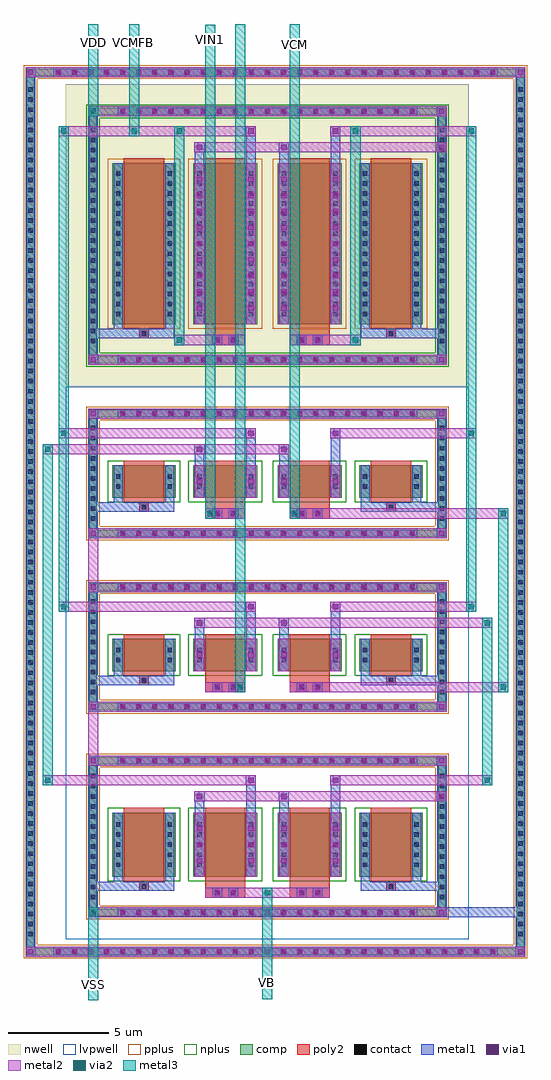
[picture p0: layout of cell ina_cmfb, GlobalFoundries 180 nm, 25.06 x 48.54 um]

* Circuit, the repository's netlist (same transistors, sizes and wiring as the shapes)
* Extracted by KLayout with GF180MCU LVS runset on : 27/08/2026 22:54

.SUBCKT ina_cmfb VB VIN2 VCMFB VIN1 VCM VDD VSS
M$1 VDD VDD VDD VDD pfet_03v3 L=2U W=16U AS=9.28P AD=9.28P PS=34.32U PD=34.32U
M$2 \$11 \$11 VDD VDD pfet_03v3 L=2U W=8U AS=4.8P AD=4.8P PS=17.2U PD=17.2U
M$3 VCMFB VCMFB VDD VDD pfet_03v3 L=2U W=8U AS=4.8P AD=4.8P PS=17.2U PD=17.2U
M$5 VCMFB VIN1 \$3 VSS nfet_03v3 L=2U W=1.6U AS=0.96P AD=0.96P PS=4.4U PD=4.4U
M$6 VSS VSS VSS VSS nfet_03v3 L=2U W=12.8U AS=7.424P AD=7.424P PS=32.56U
+ PD=32.56U
M$9 \$11 VCM \$3 VSS nfet_03v3 L=2U W=1.6U AS=0.96P AD=0.96P PS=4.4U PD=4.4U
M$10 \$11 VCM \$6 VSS nfet_03v3 L=2U W=1.6U AS=0.96P AD=0.96P PS=4.4U PD=4.4U
M$13 VCMFB VIN2 \$6 VSS nfet_03v3 L=2U W=1.6U AS=0.96P AD=0.96P PS=4.4U PD=4.4U
M$14 \$3 VB VSS VSS nfet_03v3 L=2U W=3.2U AS=1.92P AD=1.92P PS=7.6U PD=7.6U
M$15 \$6 VB VSS VSS nfet_03v3 L=2U W=3.2U AS=1.92P AD=1.92P PS=7.6U PD=7.6U
.ENDS ina_cmfb

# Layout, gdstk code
import gdstk
lib = gdstk.Library(unit=1e-6, precision=5e-09)
def R(c, l, rs):  # rectangles x0, y0, x1, y1
    for r in rs: c.add(gdstk.rectangle(r[:2], r[2:], *l))
def A(c, l, x, y, w, h, nx, ny, dx, dy):  # array of equal rectangles
    R(c, l, [(x+i*dx, y+j*dy, x+i*dx+w, y+j*dy+h) for i in range(nx) for j in range(ny)])
def P(c, l, *ps):  # polygons
    for p in ps: c.add(gdstk.Polygon(p, *l))
nwell = (21, 0)
comp = (22, 0)
poly2 = (30, 0)
pplus = (31, 0)
nplus = (32, 0)
contact = (33, 0)
metal1 = (34, 0)
via1 = (35, 0)
metal2 = (36, 0)
via2 = (38, 0)
metal3 = (42, 0)
lvpwell = (204, 0)

ina_cmfb = lib.new_cell('ina_cmfb')
R(ina_cmfb, nwell, [(-5.91,-7.515,14.13,7.515), (-4.87,-6.475,13.09,6.475), (-3.96,-5.565,3.96,5.565), (4.26,-5.565,12.18,5.565)])
A(ina_cmfb, comp, -6.47, -35.795, 0.36, 0.36, 28, 2, 0.8, 43.74)
A(ina_cmfb, comp, -7.86, -34.925, 0.36, 0.36, 1, 85, 0, 0.5)
A(ina_cmfb, comp, 16.52, -34.925, 0.36, 0.36, 1, 85, 0, 0.5)
A(ina_cmfb, comp, -3.27, -33.845, 0.36, 0.36, 19, 2, 0.8, 7.55)
A(ina_cmfb, comp, -4.75, -33.07, 0.36, 0.36, 1, 13, 0, 0.5)
A(ina_cmfb, comp, 12.61, -33.07, 0.36, 0.36, 1, 13, 0, 0.5)
A(ina_cmfb, comp, -3.27, -23.615, 0.36, 0.36, 19, 2, 0.8, 5.95)
A(ina_cmfb, comp, -4.75, -22.89, 0.36, 0.36, 1, 10, 0, 0.5)
A(ina_cmfb, comp, 12.61, -22.89, 0.36, 0.36, 1, 10, 0, 0.5)
A(ina_cmfb, comp, -3.27, -14.985, 0.36, 0.36, 19, 2, 0.8, 5.95)
A(ina_cmfb, comp, -4.75, -14.26, 0.36, 0.36, 1, 10, 0, 0.5)
A(ina_cmfb, comp, 12.61, -14.26, 0.36, 0.36, 1, 10, 0, 0.5)
A(ina_cmfb, comp, -3.27, -6.355, 0.36, 0.36, 19, 2, 0.8, 12.35)
A(ina_cmfb, comp, -4.75, -5.43, 0.36, 0.36, 1, 22, 0, 0.5)
A(ina_cmfb, comp, 12.61, -5.43, 0.36, 0.36, 1, 22, 0, 0.5)
R(ina_cmfb, comp, [(-6.47,-35.795,15.49,-35.435), (-7.86,-34.925,-7.5,7.435), (16.52,-34.925,16.88,7.435), (-3.27,-33.845,11.49,-33.485), (-4.75,-33.07,-4.39,-26.71), (12.61,-33.07,12.97,-26.71), (-3.61,-31.895,-0.45,-28.695), (0.41,-31.895,3.61,-28.695), (4.61,-31.895,7.81,-28.695), (8.67,-31.895,11.83,-28.695), (-3.27,-26.295,11.49,-25.935), (-3.27,-23.615,11.49,-23.255), (-4.75,-22.89,-4.39,-18.03), (12.61,-22.89,12.97,-18.03), (-3.61,-21.665,-0.45,-20.065), (0.41,-21.665,3.61,-20.065), (4.61,-21.665,7.81,-20.065), (8.67,-21.665,11.83,-20.065), (-3.27,-17.665,11.49,-17.305), (-3.27,-14.985,11.49,-14.625), (-4.75,-14.26,-4.39,-9.4), (12.61,-14.26,12.97,-9.4), (-3.61,-13.035,-0.45,-11.435), (0.41,-13.035,3.61,-11.435), (4.61,-13.035,7.81,-11.435), (8.67,-13.035,11.83,-11.435), (-3.27,-9.035,11.49,-8.675), (-3.27,-6.355,11.49,-5.995), (-4.75,-5.43,-4.39,5.43), (12.61,-5.43,12.97,5.43), (-3.61,-4.405,-0.45,3.595), (0.41,-4.405,3.61,3.595), (4.61,-4.405,7.81,3.595), (8.67,-4.405,11.83,3.595), (-3.27,5.995,11.49,6.355), (-6.47,7.945,15.49,8.305)])
P(ina_cmfb, comp, [(-4.75,-6.355),(-4.75,-5.995),(-4.39,-5.995),(12.61,-5.995),(12.61,5.995),(-4.39,5.995),(-4.39,-5.995),(-4.75,-5.995),(-4.75,6.355),(12.97,6.355),(12.97,-6.355)],
  [(-7.86,-35.795),(-7.86,-35.435),(-7.5,-35.435),(16.52,-35.435),(16.52,7.945),(-7.5,7.945),(-7.5,-35.435),(-7.86,-35.435),(-7.86,8.305),(16.88,8.305),(16.88,-35.795)],
  [(-4.75,-33.845),(-4.75,-33.485),(-4.39,-33.485),(12.61,-33.485),(12.61,-26.295),(-4.39,-26.295),(-4.39,-33.485),(-4.75,-33.485),(-4.75,-25.935),(12.97,-25.935),(12.97,-33.845)],
  [(-4.75,-23.615),(-4.75,-23.255),(-4.39,-23.255),(12.61,-23.255),(12.61,-17.665),(-4.39,-17.665),(-4.39,-23.255),(-4.75,-23.255),(-4.75,-17.305),(12.97,-17.305),(12.97,-23.615)],
  [(-4.75,-14.985),(-4.75,-14.625),(-4.39,-14.625),(12.61,-14.625),(12.61,-9.035),(-4.39,-9.035),(-4.39,-14.625),(-4.75,-14.625),(-4.75,-8.675),(12.97,-8.675),(12.97,-14.985)])
A(ina_cmfb, poly2, 1.01, -22.705, 2, 0.5, 1, 3, 0, 8.63)
A(ina_cmfb, poly2, 5.21, -22.705, 2, 0.5, 1, 3, 0, 8.63)
A(ina_cmfb, poly2, 1.43, -22.635, 0.36, 0.36, 1, 3, 0, 8.63)
A(ina_cmfb, poly2, 2.23, -22.635, 0.36, 0.36, 1, 3, 0, 8.63)
A(ina_cmfb, poly2, 5.63, -22.635, 0.36, 0.36, 1, 3, 0, 8.63)
A(ina_cmfb, poly2, 6.43, -22.635, 0.36, 0.36, 1, 3, 0, 8.63)
A(ina_cmfb, poly2, -2.26, -22.365, 0.46, 0.46, 1, 3, 0, 8.63)
A(ina_cmfb, poly2, 10.02, -22.365, 0.46, 0.46, 1, 3, 0, 8.63)
A(ina_cmfb, poly2, -2.21, -22.315, 0.36, 0.36, 1, 3, 0, 8.63)
A(ina_cmfb, poly2, 10.07, -22.315, 0.36, 0.36, 1, 3, 0, 8.63)
A(ina_cmfb, poly2, 1.01, -22.205, 2, 0.3, 1, 3, 0, 8.63)
A(ina_cmfb, poly2, 5.21, -22.205, 2, 0.3, 1, 3, 0, 8.63)
R(ina_cmfb, poly2, [(1.01,-32.935,3.01,-32.435), (5.21,-32.935,7.21,-32.435), (1.43,-32.865,1.79,-32.505), (2.23,-32.865,2.59,-32.505), (5.63,-32.865,5.99,-32.505), (6.43,-32.865,6.79,-32.505), (-2.26,-32.595,-1.8,-32.135), (10.02,-32.595,10.48,-32.135), (-2.21,-32.545,-1.85,-32.185), (10.07,-32.545,10.43,-32.185), (1.01,-32.435,3.01,-32.135), (5.21,-32.435,7.21,-32.135), (-3.03,-32.135,-1.03,-28.455), (1.01,-32.135,3.01,-28.455), (5.21,-32.135,7.21,-28.455), (9.25,-32.135,11.25,-28.455), (-3.03,-21.905,-1.03,-19.825), (1.01,-21.905,3.01,-19.825), (5.21,-21.905,7.21,-19.825), (9.25,-21.905,11.25,-19.825), (-3.03,-13.275,-1.03,-11.195), (1.01,-13.275,3.01,-11.195), (5.21,-13.275,7.21,-11.195), (9.25,-13.275,11.25,-11.195), (-3.03,-4.645,-1.03,3.835), (1.01,-4.645,3.01,3.835), (5.21,-4.645,7.21,3.835), (9.25,-4.645,11.25,3.835)])
R(ina_cmfb, pplus, [(-3.84,-4.635,-0.22,3.825), (0.18,-4.635,3.84,3.825), (4.38,-4.635,8.04,3.825), (8.44,-4.635,12.06,3.825)])
P(ina_cmfb, pplus, [(-8.02,-35.955),(-8.02,-35.275),(-7.34,-35.275),(16.36,-35.275),(16.36,7.785),(-7.34,7.785),(-7.34,-35.275),(-8.02,-35.275),(-8.02,8.465),(17.04,8.465),(17.04,-35.955)],
  [(-4.91,-34.005),(-4.91,-33.325),(-4.23,-33.325),(12.45,-33.325),(12.45,-26.455),(-4.23,-26.455),(-4.23,-33.325),(-4.91,-33.325),(-4.91,-25.775),(13.13,-25.775),(13.13,-34.005)],
  [(-4.91,-23.775),(-4.91,-23.095),(-4.23,-23.095),(12.45,-23.095),(12.45,-17.825),(-4.23,-17.825),(-4.23,-23.095),(-4.91,-23.095),(-4.91,-17.145),(13.13,-17.145),(13.13,-23.775)],
  [(-4.91,-15.145),(-4.91,-14.465),(-4.23,-14.465),(12.45,-14.465),(12.45,-9.195),(-4.23,-9.195),(-4.23,-14.465),(-4.91,-14.465),(-4.91,-8.515),(13.13,-8.515),(13.13,-15.145)])
R(ina_cmfb, nplus, [(-3.84,-32.125,-0.22,-28.465), (0.18,-32.125,3.84,-28.465), (4.38,-32.125,8.04,-28.465), (8.44,-32.125,12.06,-28.465), (-3.84,-21.895,-0.22,-19.835), (0.18,-21.895,3.84,-19.835), (4.38,-21.895,8.04,-19.835), (8.44,-21.895,12.06,-19.835), (-3.84,-13.265,-0.22,-11.205), (0.18,-13.265,3.84,-11.205), (4.38,-13.265,8.04,-11.205), (8.44,-13.265,12.06,-11.205)])
P(ina_cmfb, nplus, [(-4.91,-6.515),(-4.91,-5.835),(-4.23,-5.835),(12.45,-5.835),(12.45,5.835),(-4.23,5.835),(-4.23,-5.835),(-4.91,-5.835),(-4.91,6.515),(13.13,6.515),(13.13,-6.515)])
A(ina_cmfb, contact, -6.4, -35.725, 0.22, 0.22, 28, 2, 0.8, 43.74)
A(ina_cmfb, contact, -7.79, -34.855, 0.22, 0.22, 1, 85, 0, 0.5)
A(ina_cmfb, contact, 16.59, -34.855, 0.22, 0.22, 1, 85, 0, 0.5)
A(ina_cmfb, contact, -3.2, -33.775, 0.22, 0.22, 19, 2, 0.8, 7.55)
A(ina_cmfb, contact, -4.68, -33, 0.22, 0.22, 1, 13, 0, 0.5)
A(ina_cmfb, contact, 12.68, -33, 0.22, 0.22, 1, 13, 0, 0.5)
A(ina_cmfb, contact, -3.42, -31.405, 0.22, 0.22, 1, 5, 0, 0.5)
A(ina_cmfb, contact, -0.86, -31.405, 0.22, 0.22, 1, 5, 0, 0.5)
A(ina_cmfb, contact, 0.62, -31.405, 0.22, 0.22, 1, 5, 0, 0.5)
A(ina_cmfb, contact, 3.18, -31.405, 0.22, 0.22, 1, 5, 0, 0.5)
A(ina_cmfb, contact, 4.82, -31.405, 0.22, 0.22, 1, 5, 0, 0.5)
A(ina_cmfb, contact, 7.38, -31.405, 0.22, 0.22, 1, 5, 0, 0.5)
A(ina_cmfb, contact, 8.86, -31.405, 0.22, 0.22, 1, 5, 0, 0.5)
A(ina_cmfb, contact, 11.42, -31.405, 0.22, 0.22, 1, 5, 0, 0.5)
A(ina_cmfb, contact, -3.2, -23.545, 0.22, 0.22, 19, 2, 0.8, 5.95)
A(ina_cmfb, contact, -4.68, -22.82, 0.22, 0.22, 1, 10, 0, 0.5)
A(ina_cmfb, contact, 12.68, -22.82, 0.22, 0.22, 1, 10, 0, 0.5)
A(ina_cmfb, contact, 1.5, -22.565, 0.22, 0.22, 1, 3, 0, 8.63)
A(ina_cmfb, contact, 2.3, -22.565, 0.22, 0.22, 1, 3, 0, 8.63)
A(ina_cmfb, contact, 5.7, -22.565, 0.22, 0.22, 1, 3, 0, 8.63)
A(ina_cmfb, contact, 6.5, -22.565, 0.22, 0.22, 1, 3, 0, 8.63)
A(ina_cmfb, contact, -2.14, -22.245, 0.22, 0.22, 1, 3, 0, 8.63)
A(ina_cmfb, contact, 10.14, -22.245, 0.22, 0.22, 1, 3, 0, 8.63)
A(ina_cmfb, contact, -3.2, -14.915, 0.22, 0.22, 19, 2, 0.8, 5.95)
A(ina_cmfb, contact, -4.68, -14.19, 0.22, 0.22, 1, 10, 0, 0.5)
A(ina_cmfb, contact, 12.68, -14.19, 0.22, 0.22, 1, 10, 0, 0.5)
A(ina_cmfb, contact, -3.2, -6.285, 0.22, 0.22, 19, 2, 0.8, 12.35)
A(ina_cmfb, contact, -4.68, -5.36, 0.22, 0.22, 1, 22, 0, 0.5)
A(ina_cmfb, contact, 12.68, -5.36, 0.22, 0.22, 1, 22, 0, 0.5)
A(ina_cmfb, contact, -3.42, -4.015, 0.22, 0.22, 1, 15, 0, 0.5)
A(ina_cmfb, contact, -0.86, -4.015, 0.22, 0.22, 1, 15, 0, 0.5)
A(ina_cmfb, contact, 0.62, -4.015, 0.22, 0.22, 1, 15, 0, 0.5)
A(ina_cmfb, contact, 3.18, -4.015, 0.22, 0.22, 1, 15, 0, 0.5)
A(ina_cmfb, contact, 4.82, -4.015, 0.22, 0.22, 1, 15, 0, 0.5)
A(ina_cmfb, contact, 7.38, -4.015, 0.22, 0.22, 1, 15, 0, 0.5)
A(ina_cmfb, contact, 8.86, -4.015, 0.22, 0.22, 1, 15, 0, 0.5)
A(ina_cmfb, contact, 11.42, -4.015, 0.22, 0.22, 1, 15, 0, 0.5)
R(ina_cmfb, contact, [(1.5,-32.795,1.72,-32.575), (2.3,-32.795,2.52,-32.575), (5.7,-32.795,5.92,-32.575), (6.5,-32.795,6.72,-32.575), (-2.14,-32.475,-1.92,-32.255), (10.14,-32.475,10.36,-32.255), (-3.42,-21.225,-3.2,-21.005), (-0.86,-21.225,-0.64,-21.005), (0.62,-21.225,0.84,-21.005), (3.18,-21.225,3.4,-21.005), (4.82,-21.225,5.04,-21.005), (7.38,-21.225,7.6,-21.005), (8.86,-21.225,9.08,-21.005), (11.42,-21.225,11.64,-21.005), (-3.42,-20.725,-3.2,-20.505), (-0.86,-20.725,-0.64,-20.505), (0.62,-20.725,0.84,-20.505), (3.18,-20.725,3.4,-20.505), (4.82,-20.725,5.04,-20.505), (7.38,-20.725,7.6,-20.505), (8.86,-20.725,9.08,-20.505), (11.42,-20.725,11.64,-20.505), (-3.42,-12.595,-3.2,-12.375), (-0.86,-12.595,-0.64,-12.375), (0.62,-12.595,0.84,-12.375), (3.18,-12.595,3.4,-12.375), (4.82,-12.595,5.04,-12.375), (7.38,-12.595,7.6,-12.375), (8.86,-12.595,9.08,-12.375), (11.42,-12.595,11.64,-12.375), (-3.42,-12.095,-3.2,-11.875), (-0.86,-12.095,-0.64,-11.875), (0.62,-12.095,0.84,-11.875), (3.18,-12.095,3.4,-11.875), (4.82,-12.095,5.04,-11.875), (7.38,-12.095,7.6,-11.875), (8.86,-12.095,9.08,-11.875), (11.42,-12.095,11.64,-11.875)])
A(ina_cmfb, metal1, -6.54, -35.865, 0.5, 0.5, 28, 2, 0.8, 43.74)
A(ina_cmfb, metal1, -7.91, -34.975, 0.46, 0.46, 1, 85, 0, 0.5)
A(ina_cmfb, metal1, 16.47, -34.975, 0.46, 0.46, 1, 85, 0, 0.5)
A(ina_cmfb, metal1, -3.34, -33.915, 0.5, 0.5, 19, 2, 0.8, 7.55)
A(ina_cmfb, metal1, -4.8, -33.12, 0.46, 0.46, 1, 13, 0, 0.5)
A(ina_cmfb, metal1, 12.56, -33.12, 0.46, 0.46, 1, 13, 0, 0.5)
A(ina_cmfb, metal1, -3.54, -31.525, 0.46, 0.46, 1, 5, 0, 0.5)
A(ina_cmfb, metal1, -0.98, -31.525, 0.46, 0.46, 1, 5, 0, 0.5)
A(ina_cmfb, metal1, 0.5, -31.525, 0.46, 0.46, 1, 5, 0, 0.5)
A(ina_cmfb, metal1, 3.06, -31.525, 0.46, 0.46, 1, 5, 0, 0.5)
A(ina_cmfb, metal1, 4.7, -31.525, 0.46, 0.46, 1, 5, 0, 0.5)
A(ina_cmfb, metal1, 7.26, -31.525, 0.46, 0.46, 1, 5, 0, 0.5)
A(ina_cmfb, metal1, 8.74, -31.525, 0.46, 0.46, 1, 5, 0, 0.5)
A(ina_cmfb, metal1, 11.3, -31.525, 0.46, 0.46, 1, 5, 0, 0.5)
A(ina_cmfb, metal1, 0.48, -31.345, 0.5, 0.5, 1, 3, 0, 0.8)
A(ina_cmfb, metal1, 3.04, -31.345, 0.5, 0.5, 1, 3, 0, 0.8)
A(ina_cmfb, metal1, 4.68, -31.345, 0.5, 0.5, 1, 3, 0, 0.8)
A(ina_cmfb, metal1, 7.24, -31.345, 0.5, 0.5, 1, 3, 0, 0.8)
A(ina_cmfb, metal1, 0.5, -28.695, 0.46, 1.05, 1, 3, 0, 8.63)
A(ina_cmfb, metal1, 3.06, -28.695, 0.46, 1.85, 1, 3, 0, 8.63)
A(ina_cmfb, metal1, 4.7, -28.695, 0.46, 1.05, 1, 3, 0, 8.63)
A(ina_cmfb, metal1, 7.26, -28.695, 0.46, 1.85, 1, 3, 0, 8.63)
A(ina_cmfb, metal1, -3.34, -23.685, 0.5, 0.5, 19, 2, 0.8, 5.95)
A(ina_cmfb, metal1, -4.8, -22.94, 0.46, 0.46, 1, 10, 0, 0.5)
A(ina_cmfb, metal1, 12.56, -22.94, 0.46, 0.46, 1, 10, 0, 0.5)
A(ina_cmfb, metal1, 1.36, -22.705, 0.5, 0.5, 1, 3, 0, 8.63)
A(ina_cmfb, metal1, 2.16, -22.705, 0.5, 0.5, 1, 3, 0, 8.63)
A(ina_cmfb, metal1, 5.56, -22.705, 0.5, 0.5, 1, 3, 0, 8.63)
A(ina_cmfb, metal1, 6.36, -22.705, 0.5, 0.5, 1, 3, 0, 8.63)
A(ina_cmfb, metal1, -4.8, -22.365, 3, 0.46, 1, 3, 0, 8.63)
A(ina_cmfb, metal1, -3.54, -22.365, 1.28, 0.46, 1, 3, 0, 8.63)
A(ina_cmfb, metal1, -3.54, -22.365, 0.46, 0.7, 1, 3, 0, 8.63)
A(ina_cmfb, metal1, -2.26, -22.365, 0.46, 0.46, 1, 3, 0, 8.63)
A(ina_cmfb, metal1, -1.8, -22.365, 1.28, 0.46, 1, 3, 0, 8.63)
A(ina_cmfb, metal1, -0.98, -22.365, 0.46, 0.7, 1, 3, 0, 8.63)
A(ina_cmfb, metal1, 8.74, -22.365, 1.28, 0.46, 1, 3, 0, 8.63)
A(ina_cmfb, metal1, 8.74, -22.365, 0.46, 0.7, 1, 3, 0, 8.63)
A(ina_cmfb, metal1, 10.02, -22.365, 0.46, 0.46, 1, 3, 0, 8.63)
A(ina_cmfb, metal1, 10.02, -22.365, 3, 0.46, 1, 3, 0, 8.63)
A(ina_cmfb, metal1, 10.48, -22.365, 1.28, 0.46, 1, 3, 0, 8.63)
A(ina_cmfb, metal1, 11.3, -22.365, 0.46, 0.7, 1, 3, 0, 8.63)
A(ina_cmfb, metal1, -3.34, -15.055, 0.5, 0.5, 19, 2, 0.8, 5.95)
A(ina_cmfb, metal1, -4.8, -14.31, 0.46, 0.46, 1, 10, 0, 0.5)
A(ina_cmfb, metal1, 12.56, -14.31, 0.46, 0.46, 1, 10, 0, 0.5)
A(ina_cmfb, metal1, -3.34, -6.425, 0.5, 0.5, 19, 2, 0.8, 12.35)
A(ina_cmfb, metal1, -4.8, -5.48, 0.46, 0.46, 1, 22, 0, 0.5)
A(ina_cmfb, metal1, 12.56, -5.48, 0.46, 0.46, 1, 22, 0, 0.5)
A(ina_cmfb, metal1, -3.54, -4.135, 0.46, 0.46, 1, 15, 0, 0.5)
A(ina_cmfb, metal1, -0.98, -4.135, 0.46, 0.46, 1, 15, 0, 0.5)
A(ina_cmfb, metal1, 0.5, -4.135, 0.46, 0.46, 1, 15, 0, 0.5)
A(ina_cmfb, metal1, 3.06, -4.135, 0.46, 0.46, 1, 15, 0, 0.5)
A(ina_cmfb, metal1, 4.7, -4.135, 0.46, 0.46, 1, 15, 0, 0.5)
A(ina_cmfb, metal1, 7.26, -4.135, 0.46, 0.46, 1, 15, 0, 0.5)
A(ina_cmfb, metal1, 8.74, -4.135, 0.46, 0.46, 1, 15, 0, 0.5)
A(ina_cmfb, metal1, 11.3, -4.135, 0.46, 0.46, 1, 15, 0, 0.5)
A(ina_cmfb, metal1, 0.48, -3.855, 0.5, 0.5, 1, 9, 0, 0.8)
A(ina_cmfb, metal1, 3.04, -3.855, 0.5, 0.5, 1, 9, 0, 0.8)
A(ina_cmfb, metal1, 4.68, -3.855, 0.5, 0.5, 1, 9, 0, 0.8)
A(ina_cmfb, metal1, 7.24, -3.855, 0.5, 0.5, 1, 9, 0, 0.8)
R(ina_cmfb, metal1, [(-7.91,-35.865,-7.41,-35.365), (-7.91,-35.865,-7.41,-35.365), (-7.91,-35.865,-7.45,-35.435), (-6.54,-35.865,15.56,-35.365), (16.43,-35.865,16.93,-35.365), (16.43,-35.865,16.93,-35.365), (16.47,-35.865,16.93,-35.435), (-7.91,-35.435,-7.45,7.945), (16.47,-35.435,16.93,7.945), (-4.8,-33.915,-4.3,-33.415), (-4.8,-33.915,-4.3,-33.415), (-4.8,-33.915,-4.34,-33.485), (-3.34,-33.915,11.56,-33.415), (12.52,-33.915,13.02,-33.415), (12.52,-33.915,13.02,-33.415), (12.52,-33.915,16.93,-33.415), (12.56,-33.915,13.02,-33.485), (-4.8,-33.485,-4.34,-26.295), (12.56,-33.485,13.02,-26.295), (1.36,-32.935,1.86,-32.435), (2.16,-32.935,2.66,-32.435), (5.56,-32.935,6.06,-32.435), (6.36,-32.935,6.86,-32.435), (-4.8,-32.595,-1.8,-32.135), (-3.54,-32.595,-2.26,-32.135), (-3.54,-32.595,-3.08,-31.895), (-2.26,-32.595,-1.8,-32.135), (-1.8,-32.595,-0.52,-32.135), (-0.98,-32.595,-0.52,-31.895), (8.74,-32.595,10.02,-32.135), (8.74,-32.595,9.2,-31.895), (10.02,-32.595,10.48,-32.135), (10.02,-32.595,13.02,-32.135), (10.48,-32.595,11.76,-32.135), (11.3,-32.595,11.76,-31.895), (-3.54,-31.895,-3.08,-28.695), (-0.98,-31.895,-0.52,-28.695), (0.5,-31.895,0.96,-28.695), (3.06,-31.895,3.52,-28.695), (4.7,-31.895,5.16,-28.695), (7.26,-31.895,7.72,-28.695), (8.74,-31.895,9.2,-28.695), (11.3,-31.895,11.76,-28.695), (0.48,-31.345,0.98,-29.245), (3.04,-31.345,3.54,-29.245), (4.68,-31.345,5.18,-29.245), (7.24,-31.345,7.74,-29.245), (0.48,-28.145,0.98,-27.645), (4.68,-28.145,5.18,-27.645), (12.52,-28.145,13.02,-27.645), (3.04,-27.345,3.54,-26.845), (7.24,-27.345,7.74,-26.845), (-4.8,-26.365,-4.3,-25.865), (-4.8,-26.365,-4.3,-25.865), (-3.34,-26.365,11.56,-25.865), (12.52,-26.365,13.02,-25.865), (12.52,-26.365,13.02,-25.865), (-4.8,-26.295,-4.34,-25.865), (12.56,-26.295,13.02,-25.865), (-4.8,-23.685,-4.3,-23.185), (-4.8,-23.685,-4.3,-23.185), (-4.8,-23.685,-4.34,-23.255), (-3.34,-23.685,11.56,-23.185), (12.52,-23.685,13.02,-23.185), (12.52,-23.685,13.02,-23.185), (12.56,-23.685,13.02,-23.255), (-4.8,-23.255,-4.34,-17.665), (12.56,-23.255,13.02,-17.665), (-3.54,-21.665,-3.08,-20.065), (-0.98,-21.665,-0.52,-20.065), (0.5,-21.665,0.96,-20.065), (3.06,-21.665,3.52,-20.065), (4.7,-21.665,5.16,-20.065), (7.26,-21.665,7.72,-20.065), (8.74,-21.665,9.2,-20.065), (11.3,-21.665,11.76,-20.065), (-3.54,-21.345,-3.08,-20.885), (-0.98,-21.345,-0.52,-20.885), (0.5,-21.345,0.96,-20.885), (3.06,-21.345,3.52,-20.885), (4.7,-21.345,5.16,-20.885), (7.26,-21.345,7.72,-20.885), (8.74,-21.345,9.2,-20.885), (11.3,-21.345,11.76,-20.885), (0.48,-21.115,0.98,-20.615), (0.48,-21.115,0.98,-20.615), (3.04,-21.115,3.54,-20.615), (3.04,-21.115,3.54,-20.615), (4.68,-21.115,5.18,-20.615), (4.68,-21.115,5.18,-20.615), (7.24,-21.115,7.74,-20.615), (7.24,-21.115,7.74,-20.615), (-3.54,-20.845,-3.08,-20.385), (-0.98,-20.845,-0.52,-20.385), (0.5,-20.845,0.96,-20.385), (3.06,-20.845,3.52,-20.385), (4.7,-20.845,5.16,-20.385), (7.26,-20.845,7.72,-20.385), (8.74,-20.845,9.2,-20.385), (11.3,-20.845,11.76,-20.385), (0.48,-19.515,0.98,-19.015), (4.68,-19.515,5.18,-19.015), (3.04,-18.715,3.54,-18.215), (7.24,-18.715,7.74,-18.215), (-4.8,-17.735,-4.3,-17.235), (-4.8,-17.735,-4.3,-17.235), (-3.34,-17.735,11.56,-17.235), (12.52,-17.735,13.02,-17.235), (12.52,-17.735,13.02,-17.235), (-4.8,-17.665,-4.34,-17.235), (12.56,-17.665,13.02,-17.235), (-4.8,-15.055,-4.3,-14.555), (-4.8,-15.055,-4.3,-14.555), (-4.8,-15.055,-4.34,-14.625), (-3.34,-15.055,11.56,-14.555), (12.52,-15.055,13.02,-14.555), (12.52,-15.055,13.02,-14.555), (12.56,-15.055,13.02,-14.625), (-4.8,-14.625,-4.34,-9.035), (12.56,-14.625,13.02,-9.035), (-3.54,-13.035,-3.08,-11.435), (-0.98,-13.035,-0.52,-11.435), (0.5,-13.035,0.96,-11.435), (3.06,-13.035,3.52,-11.435), (4.7,-13.035,5.16,-11.435), (7.26,-13.035,7.72,-11.435), (8.74,-13.035,9.2,-11.435), (11.3,-13.035,11.76,-11.435), (-3.54,-12.715,-3.08,-12.255), (-0.98,-12.715,-0.52,-12.255), (0.5,-12.715,0.96,-12.255), (3.06,-12.715,3.52,-12.255), (4.7,-12.715,5.16,-12.255), (7.26,-12.715,7.72,-12.255), (8.74,-12.715,9.2,-12.255), (11.3,-12.715,11.76,-12.255), (0.48,-12.485,0.98,-11.985), (0.48,-12.485,0.98,-11.985), (3.04,-12.485,3.54,-11.985), (3.04,-12.485,3.54,-11.985), (4.68,-12.485,5.18,-11.985), (4.68,-12.485,5.18,-11.985), (7.24,-12.485,7.74,-11.985), (7.24,-12.485,7.74,-11.985), (-3.54,-12.215,-3.08,-11.755), (-0.98,-12.215,-0.52,-11.755), (0.5,-12.215,0.96,-11.755), (3.06,-12.215,3.52,-11.755), (4.7,-12.215,5.16,-11.755), (7.26,-12.215,7.72,-11.755), (8.74,-12.215,9.2,-11.755), (11.3,-12.215,11.76,-11.755), (0.48,-10.885,0.98,-10.385), (4.68,-10.885,5.18,-10.385), (3.04,-10.085,3.54,-9.585), (7.24,-10.085,7.74,-9.585), (-4.8,-9.105,-4.3,-8.605), (-4.8,-9.105,-4.3,-8.605), (-3.34,-9.105,11.56,-8.605), (12.52,-9.105,13.02,-8.605), (12.52,-9.105,13.02,-8.605), (-4.8,-9.035,-4.34,-8.605), (12.56,-9.035,13.02,-8.605), (-4.8,-6.425,-4.3,-5.925), (-4.8,-6.425,-4.3,-5.925), (-4.8,-6.425,-4.34,-5.995), (-3.34,-6.425,11.56,-5.925), (12.52,-6.425,13.02,-5.925), (12.52,-6.425,13.02,-5.925), (12.56,-6.425,13.02,-5.995), (-4.8,-5.995,-4.34,5.995), (12.56,-5.995,13.02,5.995), (-3.54,-4.405,-3.08,3.595), (-0.98,-4.405,-0.52,3.595), (0.5,-4.405,0.96,3.595), (3.06,-4.405,3.52,3.595), (4.7,-4.405,5.16,3.595), (7.26,-4.405,7.72,3.595), (8.74,-4.405,9.2,3.595), (11.3,-4.405,11.76,3.595), (0.48,-3.855,0.98,3.045), (3.04,-3.855,3.54,3.045), (4.68,-3.855,5.18,3.045), (7.24,-3.855,7.74,3.045), (0.5,3.595,0.96,4.645), (3.06,3.595,3.52,5.445), (4.7,3.595,5.16,4.645), (7.26,3.595,7.72,5.445), (0.48,4.145,0.98,4.645), (4.68,4.145,5.18,4.645), (12.52,4.145,13.02,4.645), (3.04,4.945,3.54,5.445), (7.24,4.945,7.74,5.445), (-4.8,5.925,-4.3,6.425), (-4.8,5.925,-4.3,6.425), (-3.34,5.925,11.56,6.425), (12.52,5.925,13.02,6.425), (12.52,5.925,13.02,6.425), (-4.8,5.995,-4.34,6.425), (12.56,5.995,13.02,6.425), (-7.91,7.875,-7.41,8.375), (-7.91,7.875,-7.41,8.375), (-6.54,7.875,15.56,8.375), (16.43,7.875,16.93,8.375), (16.43,7.875,16.93,8.375), (-7.91,7.945,-7.45,8.375), (16.47,7.945,16.93,8.375)])
A(ina_cmfb, via1, -6.42, -35.745, 0.26, 0.26, 28, 2, 0.8, 43.74)
A(ina_cmfb, via1, -3.22, -33.795, 0.26, 0.26, 19, 2, 0.8, 7.55)
A(ina_cmfb, via1, 0.6, -31.225, 0.26, 0.26, 1, 3, 0, 0.8)
A(ina_cmfb, via1, 3.16, -31.225, 0.26, 0.26, 1, 3, 0, 0.8)
A(ina_cmfb, via1, 4.8, -31.225, 0.26, 0.26, 1, 3, 0, 0.8)
A(ina_cmfb, via1, 7.36, -31.225, 0.26, 0.26, 1, 3, 0, 0.8)
A(ina_cmfb, via1, -3.22, -23.565, 0.26, 0.26, 19, 2, 0.8, 5.95)
A(ina_cmfb, via1, 1.48, -22.585, 0.26, 0.26, 1, 3, 0, 8.63)
A(ina_cmfb, via1, 2.28, -22.585, 0.26, 0.26, 1, 3, 0, 8.63)
A(ina_cmfb, via1, 5.68, -22.585, 0.26, 0.26, 1, 3, 0, 8.63)
A(ina_cmfb, via1, 6.48, -22.585, 0.26, 0.26, 1, 3, 0, 8.63)
A(ina_cmfb, via1, -3.22, -14.935, 0.26, 0.26, 19, 2, 0.8, 5.95)
A(ina_cmfb, via1, -3.22, -6.305, 0.26, 0.26, 19, 2, 0.8, 12.35)
A(ina_cmfb, via1, 0.6, -3.735, 0.26, 0.26, 1, 9, 0, 0.8)
A(ina_cmfb, via1, 3.16, -3.735, 0.26, 0.26, 1, 9, 0, 0.8)
A(ina_cmfb, via1, 4.8, -3.735, 0.26, 0.26, 1, 9, 0, 0.8)
A(ina_cmfb, via1, 7.36, -3.735, 0.26, 0.26, 1, 9, 0, 0.8)
R(ina_cmfb, via1, [(-7.79,-35.745,-7.53,-35.485), (16.55,-35.745,16.81,-35.485), (-4.68,-33.795,-4.42,-33.535), (12.64,-33.795,12.9,-33.535), (1.48,-32.815,1.74,-32.555), (2.28,-32.815,2.54,-32.555), (5.68,-32.815,5.94,-32.555), (6.48,-32.815,6.74,-32.555), (0.6,-28.025,0.86,-27.765), (4.8,-28.025,5.06,-27.765), (12.64,-28.025,12.9,-27.765), (3.16,-27.225,3.42,-26.965), (7.36,-27.225,7.62,-26.965), (-4.68,-26.245,-4.42,-25.985), (12.64,-26.245,12.9,-25.985), (-4.68,-23.565,-4.42,-23.305), (12.64,-23.565,12.9,-23.305), (0.6,-20.995,0.86,-20.735), (3.16,-20.995,3.42,-20.735), (4.8,-20.995,5.06,-20.735), (7.36,-20.995,7.62,-20.735), (0.6,-19.395,0.86,-19.135), (4.8,-19.395,5.06,-19.135), (3.16,-18.595,3.42,-18.335), (7.36,-18.595,7.62,-18.335), (-4.68,-17.615,-4.42,-17.355), (12.64,-17.615,12.9,-17.355), (-4.68,-14.935,-4.42,-14.675), (12.64,-14.935,12.9,-14.675), (0.6,-12.365,0.86,-12.105), (3.16,-12.365,3.42,-12.105), (4.8,-12.365,5.06,-12.105), (7.36,-12.365,7.62,-12.105), (0.6,-10.765,0.86,-10.505), (4.8,-10.765,5.06,-10.505), (3.16,-9.965,3.42,-9.705), (7.36,-9.965,7.62,-9.705), (-4.68,-8.985,-4.42,-8.725), (12.64,-8.985,12.9,-8.725), (-4.68,-6.305,-4.42,-6.045), (12.64,-6.305,12.9,-6.045), (0.6,4.265,0.86,4.525), (4.8,4.265,5.06,4.525), (12.64,4.265,12.9,4.525), (3.16,5.065,3.42,5.325), (7.36,5.065,7.62,5.325), (-4.68,6.045,-4.42,6.305), (12.64,6.045,12.9,6.305), (-7.79,7.995,-7.53,8.255), (16.55,7.995,16.81,8.255)])
A(ina_cmfb, metal2, -6.54, -35.865, 0.5, 0.5, 28, 2, 0.8, 43.74)
A(ina_cmfb, metal2, -3.34, -33.915, 0.5, 0.5, 19, 2, 0.8, 7.55)
A(ina_cmfb, metal2, 2.16, -32.935, 0.5, 0.5, 3, 1, 1.7, 0)
A(ina_cmfb, metal2, 0.48, -31.345, 0.5, 0.5, 1, 3, 0, 0.8)
A(ina_cmfb, metal2, 3.04, -31.345, 0.5, 0.5, 1, 3, 0, 0.8)
A(ina_cmfb, metal2, 4.68, -31.345, 0.5, 0.5, 1, 3, 0, 0.8)
A(ina_cmfb, metal2, 7.24, -31.345, 0.5, 0.5, 1, 3, 0, 0.8)
A(ina_cmfb, metal2, -3.34, -23.685, 0.5, 0.5, 19, 2, 0.8, 5.95)
A(ina_cmfb, metal2, 1.01, -22.705, 2, 0.5, 1, 3, 0, 8.63)
A(ina_cmfb, metal2, 1.36, -22.705, 0.5, 0.5, 1, 3, 0, 8.63)
A(ina_cmfb, metal2, 2.16, -22.705, 0.5, 0.5, 1, 3, 0, 8.63)
A(ina_cmfb, metal2, 5.21, -22.705, 2, 0.5, 1, 3, 0, 8.63)
A(ina_cmfb, metal2, 5.56, -22.705, 0.5, 0.5, 1, 3, 0, 8.63)
A(ina_cmfb, metal2, 6.36, -22.705, 0.5, 0.5, 1, 3, 0, 8.63)
A(ina_cmfb, metal2, -3.34, -15.055, 0.5, 0.5, 19, 2, 0.8, 5.95)
A(ina_cmfb, metal2, -3.34, -6.425, 0.5, 0.5, 19, 2, 0.8, 12.35)
A(ina_cmfb, metal2, 0.48, -3.855, 0.5, 0.5, 1, 9, 0, 0.8)
A(ina_cmfb, metal2, 3.04, -3.855, 0.5, 0.5, 1, 9, 0, 0.8)
A(ina_cmfb, metal2, 4.68, -3.855, 0.5, 0.5, 1, 9, 0, 0.8)
A(ina_cmfb, metal2, 7.24, -3.855, 0.5, 0.5, 1, 9, 0, 0.8)
R(ina_cmfb, metal2, [(-7.91,-35.865,-7.41,-35.365), (-7.91,-35.865,-7.41,-35.365), (-7.91,-35.865,-7.5,-35.365), (-7.5,-35.865,16.52,-35.365), (16.43,-35.865,16.93,-35.365), (16.43,-35.865,16.93,-35.365), (16.52,-35.865,16.93,-35.365), (-4.8,-33.915,-4.3,-33.415), (-4.8,-33.915,-4.3,-33.415), (-4.8,-33.915,-4.3,-33.415), (-4.8,-33.915,-4.39,-33.415), (-4.39,-33.915,12.61,-33.415), (12.52,-33.915,13.02,-33.415), (12.52,-33.915,13.02,-33.415), (12.61,-33.915,13.02,-33.415), (1.01,-32.935,3.01,-32.435), (1.36,-32.935,1.86,-32.435), (3.01,-32.935,7.21,-32.435), (5.21,-32.935,7.21,-32.435), (6.36,-32.935,6.86,-32.435), (0.48,-31.895,0.98,-28.695), (3.04,-31.895,3.54,-28.695), (4.68,-31.895,5.18,-28.695), (7.24,-31.895,7.74,-28.695), (0.48,-28.145,0.98,-27.645), (0.48,-28.145,3.54,-27.645), (3.54,-28.145,7.74,-27.645), (4.68,-28.145,5.18,-27.645), (4.68,-28.145,13.02,-27.645), (4.68,-28.145,7.74,-27.645), (12.52,-28.145,13.02,-27.645), (-7.07,-27.345,-6.57,-26.845), (-7.07,-27.345,3.54,-26.845), (0.48,-27.345,3.54,-26.845), (3.04,-27.345,3.54,-26.845), (7.24,-27.345,7.74,-26.845), (7.24,-27.345,7.74,-26.845), (7.24,-27.345,15.29,-26.845), (14.79,-27.345,15.29,-26.845), (-4.8,-26.365,-4.3,-25.865), (-4.8,-26.365,-4.3,-25.865), (-4.8,-26.365,-4.39,-25.865), (-4.8,-26.365,-4.3,-23.185), (-4.39,-26.365,12.61,-25.865), (12.52,-26.365,13.02,-25.865), (12.52,-26.365,13.02,-25.865), (12.61,-26.365,13.02,-25.865), (-4.8,-23.685,-4.3,-23.185), (-4.8,-23.685,-4.3,-23.185), (-4.8,-23.685,-4.39,-23.185), (-4.39,-23.685,12.61,-23.185), (12.52,-23.685,13.02,-23.185), (12.52,-23.685,13.02,-23.185), (12.61,-23.685,13.02,-23.185), (2.51,-22.705,3.01,-22.205), (5.21,-22.705,16.09,-22.205), (15.59,-22.705,16.09,-22.205), (0.48,-21.665,0.98,-20.065), (3.04,-21.665,3.54,-20.065), (4.68,-21.665,5.18,-20.065), (7.24,-21.665,7.74,-20.065), (0.48,-21.115,0.98,-20.615), (3.04,-21.115,3.54,-20.615), (4.68,-21.115,5.18,-20.615), (7.24,-21.115,7.74,-20.615), (0.48,-19.515,0.98,-19.015), (0.48,-19.515,3.54,-19.015), (3.54,-19.515,4.68,-19.015), (4.68,-19.515,5.18,-19.015), (4.68,-19.515,7.74,-19.015), (4.68,-19.515,15.29,-19.015), (14.79,-19.515,15.29,-19.015), (-6.27,-18.715,-5.77,-18.215), (-6.27,-18.715,3.54,-18.215), (0.48,-18.715,3.54,-18.215), (3.04,-18.715,3.54,-18.215), (7.24,-18.715,7.74,-18.215), (7.24,-18.715,7.74,-18.215), (7.24,-18.715,14.49,-18.215), (13.99,-18.715,14.49,-18.215), (-4.8,-17.735,-4.3,-17.235), (-4.8,-17.735,-4.3,-17.235), (-4.8,-17.735,-4.39,-17.235), (-4.8,-17.735,-4.3,-14.555), (-4.39,-17.735,12.61,-17.235), (12.52,-17.735,13.02,-17.235), (12.52,-17.735,13.02,-17.235), (12.61,-17.735,13.02,-17.235), (-4.8,-15.055,-4.3,-14.555), (-4.8,-15.055,-4.3,-14.555), (-4.8,-15.055,-4.39,-14.555), (-4.39,-15.055,12.61,-14.555), (12.52,-15.055,13.02,-14.555), (12.52,-15.055,13.02,-14.555), (12.61,-15.055,13.02,-14.555), (1.01,-14.075,1.51,-13.575), (5.21,-14.075,5.71,-13.575), (5.21,-14.075,16.09,-13.575), (15.59,-14.075,16.09,-13.575), (0.48,-13.035,0.98,-11.435), (3.04,-13.035,3.54,-11.435), (4.68,-13.035,5.18,-11.435), (7.24,-13.035,7.74,-11.435), (0.48,-12.485,0.98,-11.985), (3.04,-12.485,3.54,-11.985), (4.68,-12.485,5.18,-11.985), (7.24,-12.485,7.74,-11.985), (-7.07,-10.885,-6.57,-10.385), (-7.07,-10.885,3.54,-10.385), (0.48,-10.885,0.98,-10.385), (0.48,-10.885,3.54,-10.385), (3.54,-10.885,4.68,-10.385), (4.68,-10.885,5.18,-10.385), (4.68,-10.885,5.18,-10.385), (-6.27,-10.085,-5.77,-9.585), (-6.27,-10.085,3.54,-9.585), (0.48,-10.085,3.54,-9.585), (3.04,-10.085,3.54,-9.585), (7.24,-10.085,7.74,-9.585), (7.24,-10.085,7.74,-9.585), (7.24,-10.085,14.49,-9.585), (13.99,-10.085,14.49,-9.585), (-4.8,-9.105,-4.3,-8.605), (-4.8,-9.105,-4.3,-8.605), (-4.8,-9.105,-4.39,-8.605), (-4.39,-9.105,12.61,-8.605), (12.52,-9.105,13.02,-8.605), (12.52,-9.105,13.02,-8.605), (12.61,-9.105,13.02,-8.605), (-4.8,-6.425,-4.3,-5.925), (-4.8,-6.425,-4.3,-5.925), (-4.8,-6.425,-4.39,-5.925), (-4.39,-6.425,12.61,-5.925), (12.52,-6.425,13.02,-5.925), (12.52,-6.425,13.02,-5.925), (12.61,-6.425,13.02,-5.925), (-0.52,-5.445,-0.02,-4.945), (-0.52,-5.445,1.01,-4.945), (7.21,-5.445,8.74,-4.945), (8.24,-5.445,8.74,-4.945), (0.48,-4.405,0.98,3.595), (3.04,-4.405,3.54,3.595), (4.68,-4.405,5.18,3.595), (7.24,-4.405,7.74,3.595), (0.48,4.145,0.98,4.645), (0.48,4.145,3.54,4.645), (3.54,4.145,7.74,4.645), (4.68,4.145,5.18,4.645), (4.68,4.145,13.02,4.645), (4.68,4.145,7.74,4.645), (12.52,4.145,13.02,4.645), (-6.27,4.945,-5.77,5.445), (-6.27,4.945,3.54,5.445), (-2.77,4.945,-2.27,5.445), (-0.52,4.945,-0.02,5.445), (-0.52,4.945,0.48,5.445), (0.48,4.945,3.54,5.445), (3.04,4.945,3.54,5.445), (7.24,4.945,7.74,5.445), (7.24,4.945,7.74,5.445), (7.24,4.945,14.49,5.445), (7.74,4.945,8.74,5.445), (8.24,4.945,8.74,5.445), (13.99,4.945,14.49,5.445), (-4.8,5.925,-4.3,6.425), (-4.8,5.925,-4.3,6.425), (-4.8,5.925,-4.3,6.425), (-4.8,5.925,-4.39,6.425), (-4.39,5.925,12.61,6.425), (12.52,5.925,13.02,6.425), (12.52,5.925,13.02,6.425), (12.61,5.925,13.02,6.425), (-7.91,7.875,-7.41,8.375), (-7.91,7.875,-7.41,8.375), (-7.91,7.875,-7.5,8.375), (-7.5,7.875,16.52,8.375), (16.43,7.875,16.93,8.375), (16.43,7.875,16.93,8.375), (16.52,7.875,16.93,8.375)])
R(ina_cmfb, via2, [(-4.68,-33.795,-4.42,-33.535), (3.98,-32.815,4.24,-32.555), (-6.95,-27.225,-6.69,-26.965), (14.91,-27.225,15.17,-26.965), (2.63,-22.585,2.89,-22.325), (15.71,-22.585,15.97,-22.325), (14.91,-19.395,15.17,-19.135), (-6.15,-18.595,-5.89,-18.335), (14.11,-18.595,14.37,-18.335), (1.13,-13.955,1.39,-13.695), (5.33,-13.955,5.59,-13.695), (15.71,-13.955,15.97,-13.695), (-6.95,-10.765,-6.69,-10.505), (-6.15,-9.965,-5.89,-9.705), (14.11,-9.965,14.37,-9.705), (-0.4,-5.325,-0.14,-5.065), (8.36,-5.325,8.62,-5.065), (-6.15,5.065,-5.89,5.325), (-2.65,5.065,-2.39,5.325), (-0.4,5.065,-0.14,5.325), (8.36,5.065,8.62,5.325), (14.11,5.065,14.37,5.325), (-4.68,6.045,-4.42,6.305)])
R(ina_cmfb, metal3, [(-4.8,-38.02,-4.3,-33.415), (3.86,-37.98,4.36,-32.435), (-4.8,-33.915,-4.3,-33.415), (3.86,-32.935,4.36,-32.435), (-7.07,-27.345,-6.57,-26.845), (-7.07,-27.345,-6.57,-10.385), (14.79,-27.345,15.29,-26.845), (14.79,-27.345,15.29,-19.015), (2.51,-22.705,3.01,-22.205), (2.51,-22.705,3.01,10.52), (15.59,-22.705,16.09,-22.205), (15.59,-22.705,16.09,-13.575), (14.79,-19.515,15.29,-19.015), (-6.27,-18.715,-5.77,-18.215), (-6.27,-18.715,-5.77,-9.585), (13.99,-18.715,14.49,-18.215), (13.99,-18.715,14.49,-9.585), (1.01,-14.075,1.51,-13.575), (1.01,-14.075,1.51,10.49), (5.21,-14.075,5.71,-13.575), (5.21,-14.075,5.71,10.52), (15.59,-14.075,16.09,-13.575), (-7.07,-10.885,-6.57,-10.385), (-6.27,-10.085,-5.77,-9.585), (-6.27,-10.085,-5.77,5.445), (13.99,-10.085,14.49,-9.585), (13.99,-10.085,14.49,5.445), (-0.52,-5.445,-0.02,-4.945), (-0.52,-5.445,-0.02,-4.945), (-0.52,-5.445,-0.02,5.445), (8.24,-5.445,8.74,-4.945), (8.24,-5.445,8.74,-4.945), (8.24,-5.445,8.74,5.445), (-6.27,4.945,-5.77,5.445), (-2.77,4.945,-2.27,5.445), (-2.77,4.945,-2.27,10.5), (-0.52,4.945,-0.02,5.445), (-0.52,4.945,-0.02,5.445), (8.24,4.945,8.74,5.445), (8.24,4.945,8.74,5.445), (13.99,4.945,14.49,5.445), (-4.8,5.925,-4.3,6.425), (-4.8,5.925,-4.3,10.5)])
P(ina_cmfb, metal3, [(-0.02,-5.445),(-0.02,-4.945),(-0.02,-4.945),(-0.02,-5.445)],
  [(-0.02,4.945),(-0.02,5.445),(-0.02,5.445),(-0.02,4.945)],
  [(8.74,-5.445),(8.74,-4.945),(8.74,-4.945),(8.74,-5.445)],
  [(8.74,4.945),(8.74,5.445),(8.74,5.445),(8.74,4.945)])
R(ina_cmfb, lvpwell, [(-5.91,-35.005,14.13,-24.775), (-3.96,-33.055,3.96,-26.725), (4.26,-33.055,12.18,-26.725), (-5.91,-24.775,14.13,-16.145), (-3.96,-22.825,3.96,-18.095), (4.26,-22.825,12.18,-18.095), (-5.91,-16.145,14.13,-7.515), (-3.96,-14.195,3.96,-9.465), (4.26,-14.195,12.18,-9.465)])
ina_cmfb.add(gdstk.Label('VDD', (-4.56,9.6), layer=42, texttype=10))
ina_cmfb.add(gdstk.Label('VSS', (-4.55,-37.25), layer=42, texttype=10))
ina_cmfb.add(gdstk.Label('VB', (4.08,-37.15), layer=42, texttype=10))
ina_cmfb.add(gdstk.Label('VCMFB', (-2.57,9.61), layer=42, texttype=10))
ina_cmfb.add(gdstk.Label('VIN1', (1.27,9.76), layer=42, texttype=10))
ina_cmfb.add(gdstk.Label('VCM', (5.46,9.52), layer=42, texttype=10))
ina_cmfb.add(gdstk.Label('VIN2', (2.73,9.74), layer=42, texttype=10))

lib.write_gds('ina_cmfb.gds')
